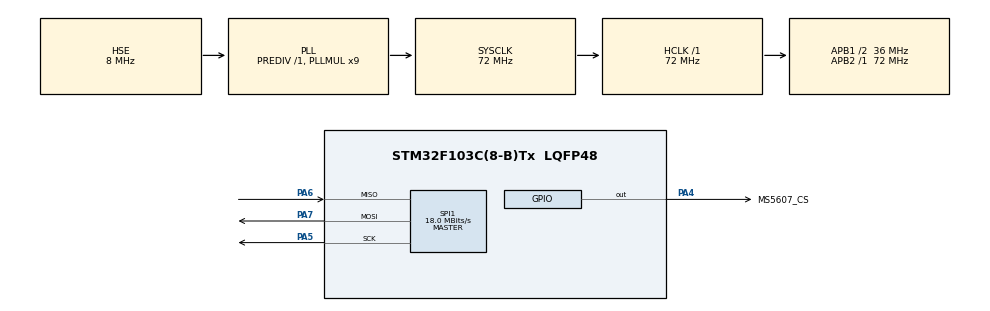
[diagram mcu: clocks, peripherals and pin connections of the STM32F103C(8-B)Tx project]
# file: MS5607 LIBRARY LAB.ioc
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Mcu.Family=STM32F1
Mcu.Name=STM32F103C(8-B)Tx
Mcu.Package=LQFP48
NVIC.PriorityGroup=NVIC_PRIORITYGROUP_4
PA13.Mode=Serial_Wire
PA13.Signal=SYS_JTMS-SWDIO
PA14.Mode=Serial_Wire
PA14.Signal=SYS_JTCK-SWCLK
PA4.GPIO_Label=MS5607_CS
PA4.Signal=GPIO_Output
PA5.Mode=Full_Duplex_Master
PA5.Signal=SPI1_SCK
PA6.Mode=Full_Duplex_Master
PA6.Signal=SPI1_MISO
PA7.Mode=Full_Duplex_Master
PA7.Signal=SPI1_MOSI
PD0-OSC_IN.Mode=HSE-External-Oscillator
PD0-OSC_IN.Signal=RCC_OSC_IN
PD1-OSC_OUT.Mode=HSE-External-Oscillator
PD1-OSC_OUT.Signal=RCC_OSC_OUT
ProjectManager.HeapSize=0x200
ProjectManager.StackSize=0x400
ProjectManager.TargetToolchain=STM32CubeIDE
RCC.AHBFreq_Value=72000000
RCC.APB1CLKDivider=RCC_HCLK_DIV2
RCC.APB1Freq_Value=36000000
RCC.APB1TimFreq_Value=72000000
RCC.APB2Freq_Value=72000000
RCC.APB2TimFreq_Value=72000000
RCC.HCLKFreq_Value=72000000
RCC.PLLMUL=RCC_PLL_MUL9
RCC.PLLSourceVirtual=RCC_PLLSOURCE_HSE
RCC.SYSCLKFreq_VALUE=72000000
RCC.SYSCLKSource=RCC_SYSCLKSOURCE_PLLCLK
RCC.USBFreq_Value=72000000
SPI1.BaudRatePrescaler=SPI_BAUDRATEPRESCALER_4
SPI1.CalculateBaudRate=18.0 MBits/s
SPI1.Direction=SPI_DIRECTION_2LINES
SPI1.Mode=SPI_MODE_MASTER
SPI1.VirtualType=VM_MASTER
board=custom

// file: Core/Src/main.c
/* USER CODE BEGIN Header */
/**
  ******************************************************************************
  * @file           : main.c
  * @brief          : Main program body
  ******************************************************************************
  * @attention
  *
  * Copyright (c) 2025 STMicroelectronics.
  * All rights reserved.
  *
  * This software is licensed under terms that can be found in the LICENSE file
  * in the root directory of this software component.
  * If no LICENSE file comes with this software, it is provided AS-IS.
  *
  ******************************************************************************
  */
/* USER CODE END Header */
#include "main.h"

/* USER CODE BEGIN Includes */
#include "MS5607SPI.h"
/* USER CODE END Includes */

SPI_HandleTypeDef hspi1;

/* USER CODE BEGIN PV */
double ms5607_temperature_C = 0.0;
int32_t ms5607_pressure_Pa = 0;

struct promData calib_data;
struct MS5607UncompensatedValues uncomp_vals;
struct MS5607Readings real_vals;
/* USER CODE END PV */

void SystemClock_Config(void);
static void MX_GPIO_Init(void);
static void MX_SPI1_Init(void);

int main(void)
{

  /* MCU Configuration--------------------------------------------------------*/

  /* Reset of all peripherals, Initializes the Flash interface and the Systick. */
  HAL_Init();

  /* Configure the system clock */
  SystemClock_Config();

  /* Initialize all configured peripherals */
  MX_GPIO_Init();
  MX_SPI1_Init();
  /* USER CODE BEGIN 2 */

  // Initialize sensor
  MS5607StateTypeDef sensor_state = MS5607_Init(&hspi1, MS5607_CS_GPIO_Port, MS5607_CS_Pin);
  if (sensor_state != MS5607_STATE_READY) {
      while (1);  // Stay here if sensor fails to init
  }

  // Read calibration PROM
  MS5607PromRead(&calib_data);

  // Set oversampling ratios
  MS5607SetTemperatureOSR(OSR_4096);
  MS5607SetPressureOSR(OSR_4096);

  /* USER CODE END 2 */

  /* Infinite loop */
  /* USER CODE BEGIN WHILE */
  while (1)
  {
	  // Update sensor readings
	  MS5607Update();

	  // Store results in global variables
	  ms5607_temperature_C = MS5607GetTemperatureC();
	  ms5607_pressure_Pa = MS5607GetPressurePa();
s
	  // Wait before next reading
	  HAL_Delay(1000); // 1 second

    /* USER CODE END WHILE */

  }
}

void SystemClock_Config(void)
{
  RCC_OscInitTypeDef RCC_OscInitStruct = {0};
  RCC_ClkInitTypeDef RCC_ClkInitStruct = {0};

  /** Initializes the RCC Oscillators according to the specified parameters
  * in the RCC_OscInitTypeDef structure.
  */
  RCC_OscInitStruct.OscillatorType = RCC_OSCILLATORTYPE_HSE;
  RCC_OscInitStruct.HSEState = RCC_HSE_ON;
  RCC_OscInitStruct.HSEPredivValue = RCC_HSE_PREDIV_DIV1;
  RCC_OscInitStruct.HSIState = RCC_HSI_ON;
  RCC_OscInitStruct.PLL.PLLState = RCC_PLL_ON;
  RCC_OscInitStruct.PLL.PLLSource = RCC_PLLSOURCE_HSE;
  RCC_OscInitStruct.PLL.PLLMUL = RCC_PLL_MUL9;
  if (HAL_RCC_OscConfig(&RCC_OscInitStruct) != HAL_OK)
  {
    Error_Handler();
  }

  /** Initializes the CPU, AHB and APB buses clocks
  */
  RCC_ClkInitStruct.ClockType = RCC_CLOCKTYPE_HCLK|RCC_CLOCKTYPE_SYSCLK
                              |RCC_CLOCKTYPE_PCLK1|RCC_CLOCKTYPE_PCLK2;
  RCC_ClkInitStruct.SYSCLKSource = RCC_SYSCLKSOURCE_PLLCLK;
  RCC_ClkInitStruct.AHBCLKDivider = RCC_SYSCLK_DIV1;
  RCC_ClkInitStruct.APB1CLKDivider = RCC_HCLK_DIV2;
  RCC_ClkInitStruct.APB2CLKDivider = RCC_HCLK_DIV1;

  if (HAL_RCC_ClockConfig(&RCC_ClkInitStruct, FLASH_LATENCY_2) != HAL_OK)
  {
    Error_Handler();
  }
}

static void MX_SPI1_Init(void)
{

  /* SPI1 parameter configuration*/
  hspi1.Instance = SPI1;
  hspi1.Init.Mode = SPI_MODE_MASTER;
  hspi1.Init.Direction = SPI_DIRECTION_2LINES;
  hspi1.Init.DataSize = SPI_DATASIZE_8BIT;
  hspi1.Init.CLKPolarity = SPI_POLARITY_LOW;
  hspi1.Init.CLKPhase = SPI_PHASE_1EDGE;
  hspi1.Init.NSS = SPI_NSS_SOFT;
  hspi1.Init.BaudRatePrescaler = SPI_BAUDRATEPRESCALER_4;
  hspi1.Init.FirstBit = SPI_FIRSTBIT_MSB;
  hspi1.Init.TIMode = SPI_TIMODE_DISABLE;
  hspi1.Init.CRCCalculation = SPI_CRCCALCULATION_DISABLE;
  hspi1.Init.CRCPolynomial = 10;
  if (HAL_SPI_Init(&hspi1) != HAL_OK)
  {
    Error_Handler();
  }

}

static void MX_GPIO_Init(void)
{
  GPIO_InitTypeDef GPIO_InitStruct = {0};

  /* GPIO Ports Clock Enable */
  __HAL_RCC_GPIOC_CLK_ENABLE();
  __HAL_RCC_GPIOD_CLK_ENABLE();
  __HAL_RCC_GPIOA_CLK_ENABLE();
  __HAL_RCC_GPIOB_CLK_ENABLE();

  /*Configure GPIO pin Output Level */
  HAL_GPIO_WritePin(MS5607_CS_GPIO_Port, MS5607_CS_Pin, GPIO_PIN_RESET);

  /*Configure GPIO pins : PC13 PC14 PC15 */
  GPIO_InitStruct.Pin = GPIO_PIN_13|GPIO_PIN_14|GPIO_PIN_15;
  GPIO_InitStruct.Mode = GPIO_MODE_ANALOG;
  HAL_GPIO_Init(GPIOC, &GPIO_InitStruct);

  /*Configure GPIO pins : PA0 PA1 PA2 PA3
                           PA8 PA9 PA10 PA11
                           PA12 PA15 */
  GPIO_InitStruct.Pin = GPIO_PIN_0|GPIO_PIN_1|GPIO_PIN_2|GPIO_PIN_3
                          |GPIO_PIN_8|GPIO_PIN_9|GPIO_PIN_10|GPIO_PIN_11
                          |GPIO_PIN_12|GPIO_PIN_15;
  GPIO_InitStruct.Mode = GPIO_MODE_ANALOG;
  HAL_GPIO_Init(GPIOA, &GPIO_InitStruct);

  /*Configure GPIO pin : MS5607_CS_Pin */
  GPIO_InitStruct.Pin = MS5607_CS_Pin;
  GPIO_InitStruct.Mode = GPIO_MODE_OUTPUT_PP;
  GPIO_InitStruct.Pull = GPIO_NOPULL;
  GPIO_InitStruct.Speed = GPIO_SPEED_FREQ_LOW;
  HAL_GPIO_Init(MS5607_CS_GPIO_Port, &GPIO_InitStruct);

  /*Configure GPIO pins : PB0 PB1 PB2 PB10
                           PB11 PB12 PB13 PB14
                           PB15 PB3 PB4 PB5
                           PB6 PB7 PB8 PB9 */
  GPIO_InitStruct.Pin = GPIO_PIN_0|GPIO_PIN_1|GPIO_PIN_2|GPIO_PIN_10
                          |GPIO_PIN_11|GPIO_PIN_12|GPIO_PIN_13|GPIO_PIN_14
                          |GPIO_PIN_15|GPIO_PIN_3|GPIO_PIN_4|GPIO_PIN_5
                          |GPIO_PIN_6|GPIO_PIN_7|GPIO_PIN_8|GPIO_PIN_9;
  GPIO_InitStruct.Mode = GPIO_MODE_ANALOG;
  HAL_GPIO_Init(GPIOB, &GPIO_InitStruct);

}

void Error_Handler(void)
{
  __disable_irq();
  while (1)
  {
  }
}
